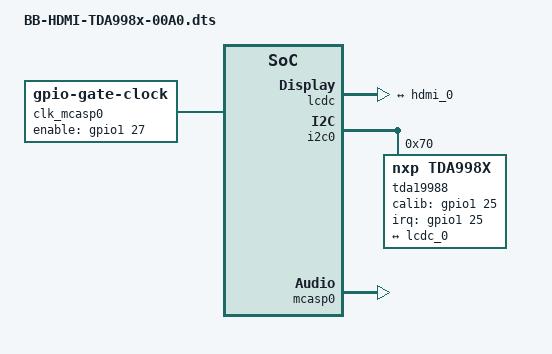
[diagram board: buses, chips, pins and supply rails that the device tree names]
// SPDX-License-Identifier: GPL-2.0-only
/*
 * Copyright (C) 2012 Texas Instruments Incorporated - https://www.ti.com/
 */

/dts-v1/;
/plugin/;

#include <dt-bindings/gpio/gpio.h>
#include <dt-bindings/pinctrl/am33xx.h>
#include <dt-bindings/display/tda998x.h>
#include <dt-bindings/interrupt-controller/irq.h>

/*
 * Helper to show loaded overlays under: /proc/device-tree/chosen/overlays/
 */
&{/chosen} {
	overlays {
		BB-HDMI-TDA998x-00A0.kernel = __TIMESTAMP__;
	};
};

&lcdc {
	status = "okay";

	/* If you want to get 24 bit RGB and 16 BGR mode instead of
	 * current 16 bit RGB and 24 BGR modes, set the propety
	 * below to "crossed" and uncomment the video-ports -property
	 * in tda19988 node.
	 */
	blue-and-red-wiring = "straight";

	port {
		lcdc_0: endpoint@0 {
			remote-endpoint = <&hdmi_0>;
		};
	};
};

&i2c0 {
	#address-cells = <1>;
	#size-cells = <0>;
	tda19988: tda19988@70 {
		compatible = "nxp,tda998x";
		reg = <0x70>;
		nxp,calib-gpios = <&gpio1 25 0>;
		interrupts-extended = <&gpio1 25 IRQ_TYPE_LEVEL_LOW>;

		pinctrl-names = "default", "off";
		pinctrl-0 = <&nxp_hdmi_bonelt_pins>;
		pinctrl-1 = <&nxp_hdmi_bonelt_off_pins>;

		/* Convert 24bit BGR to RGB, e.g. cross red and blue wiring */
		/* video-ports = <0x234501>; */

		#sound-dai-cells = <0>;
		audio-ports = <	TDA998x_I2S	0x03>;

		ports {
			port@0 {
				hdmi_0: endpoint@0 {
					remote-endpoint = <&lcdc_0>;
				};
			};
		};
	};
};

&mcasp0 {
	#sound-dai-cells = <0>;
	pinctrl-names = "default";
	pinctrl-0 = <&mcasp0_pins>;
	status = "okay";
	op-mode = <0>;	/* MCASP_IIS_MODE */
	tdm-slots = <2>;
	serial-dir = <	/* 0: INACTIVE, 1: TX, 2: RX */
			0 0 1 0
		>;
	tx-num-evt = <32>;
	rx-num-evt = <32>;
};

&{/} {
	clk_mcasp0_fixed: clk_mcasp0_fixed {
		#clock-cells = <0>;
		compatible = "fixed-clock";
		clock-frequency = <24576000>;
	};

	clk_mcasp0: clk_mcasp0 {
		#clock-cells = <0>;
		compatible = "gpio-gate-clock";
		clocks = <&clk_mcasp0_fixed>;
		enable-gpios = <&gpio1 27 0>; /* BeagleBone Black Clk enable on GPIO1_27 */
	};

	sound {
		compatible = "simple-audio-card";
		simple-audio-card,name = "TI BeagleBone Black";
		simple-audio-card,format = "i2s";
		simple-audio-card,bitclock-master = <&dailink0_master>;
		simple-audio-card,frame-master = <&dailink0_master>;

		dailink0_master: simple-audio-card,cpu {
			sound-dai = <&mcasp0>;
			clocks = <&clk_mcasp0>;
		};

		simple-audio-card,codec {
			sound-dai = <&tda19988>;
		};
	};
};
